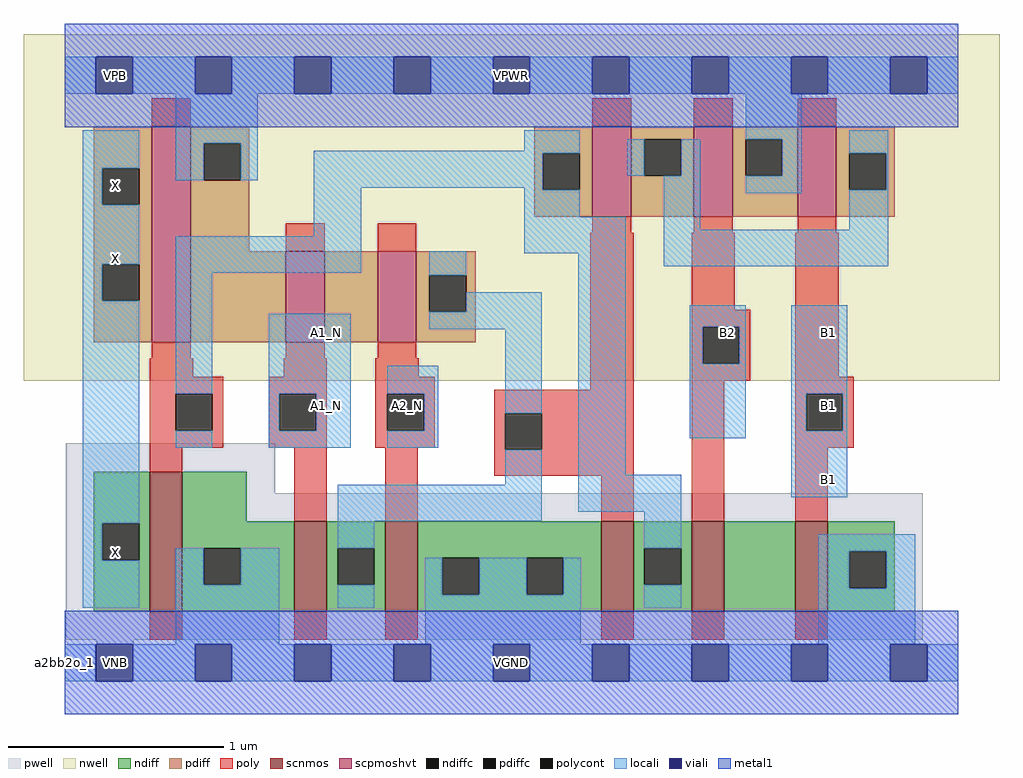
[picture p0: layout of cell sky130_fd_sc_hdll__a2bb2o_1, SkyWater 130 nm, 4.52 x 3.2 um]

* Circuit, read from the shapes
.subckt sky130_fd_sc_hdll__a2bb2o_1 A1_N A2_N B1 B2 VGND VNB VPB VPWR X
XM1 VGND n1 X VNB sky130_fd_pr__nfet_01v8 w=0.65 l=0.15
XM2 n2 A1_N VGND VNB sky130_fd_pr__nfet_01v8 w=0.42 l=0.15
XM3 VGND A2_N n2 VNB sky130_fd_pr__nfet_01v8 w=0.42 l=0.15
XM4 n1 n2 VGND VNB sky130_fd_pr__nfet_01v8 w=0.42 l=0.15
XM5 n3 B2 n1 VNB sky130_fd_pr__nfet_01v8 w=0.42 l=0.15
XM6 VGND B1 n3 VNB sky130_fd_pr__nfet_01v8 w=0.42 l=0.15
XM7 VPWR n1 X VPB sky130_fd_pr__pfet_01v8_hvt w=1 l=0.18
XM8 n4 A1_N VPWR VPB sky130_fd_pr__pfet_01v8_hvt w=0.42 l=0.18
XM9 n2 A2_N n4 VPB sky130_fd_pr__pfet_01v8_hvt w=0.42 l=0.18
XM10 n5 n2 n1 VPB sky130_fd_pr__pfet_01v8_hvt w=0.42 l=0.18
XM11 VPWR B2 n5 VPB sky130_fd_pr__pfet_01v8_hvt w=0.42 l=0.18
XM12 n5 B1 VPWR VPB sky130_fd_pr__pfet_01v8_hvt w=0.42 l=0.18
.ends

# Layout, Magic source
magic
tech sky130A
magscale 1 2
<< nwell >>
rect -38 261 866 582
<< pwell >>
rect 1 157 195 203
rect 1 21 795 157
rect 30 -17 64 21
<< scnmos >>
rect 79 47 109 177
rect 213 47 243 131
rect 297 47 327 131
rect 497 47 527 131
rect 581 47 611 131
rect 677 47 707 131
<< scpmoshvt >>
rect 81 297 117 497
rect 489 413 525 497
rect 583 413 619 497
rect 679 413 715 497
rect 205 297 241 381
rect 290 297 326 381
<< ndiff >>
rect 27 129 79 177
rect 27 95 35 129
rect 69 95 79 129
rect 27 47 79 95
rect 109 131 169 177
rect 109 106 213 131
rect 109 72 129 106
rect 163 72 213 106
rect 109 47 213 72
rect 243 106 297 131
rect 243 72 253 106
rect 287 72 297 106
rect 243 47 297 72
rect 327 97 497 131
rect 327 63 350 97
rect 384 63 428 97
rect 462 63 497 97
rect 327 47 497 63
rect 527 106 581 131
rect 527 72 537 106
rect 571 72 581 106
rect 527 47 581 72
rect 611 47 677 131
rect 707 103 769 131
rect 707 69 727 103
rect 761 69 769 103
rect 707 47 769 69
<< pdiff >>
rect 27 458 81 497
rect 27 424 35 458
rect 69 424 81 458
rect 27 369 81 424
rect 27 335 35 369
rect 69 335 81 369
rect 27 297 81 335
rect 117 481 171 497
rect 117 447 129 481
rect 163 447 171 481
rect 117 381 171 447
rect 435 472 489 497
rect 435 438 443 472
rect 477 438 489 472
rect 435 413 489 438
rect 525 485 583 497
rect 525 451 537 485
rect 571 451 583 485
rect 525 413 583 451
rect 619 485 679 497
rect 619 451 631 485
rect 665 451 679 485
rect 619 413 679 451
rect 715 472 769 497
rect 715 438 727 472
rect 761 438 769 472
rect 715 413 769 438
rect 117 297 205 381
rect 241 297 290 381
rect 326 359 381 381
rect 326 325 338 359
rect 372 325 381 359
rect 326 297 381 325
<< ndiffc >>
rect 35 95 69 129
rect 129 72 163 106
rect 253 72 287 106
rect 350 63 384 97
rect 428 63 462 97
rect 537 72 571 106
rect 727 69 761 103
<< pdiffc >>
rect 35 424 69 458
rect 35 335 69 369
rect 129 447 163 481
rect 443 438 477 472
rect 537 451 571 485
rect 631 451 665 485
rect 727 438 761 472
rect 338 325 372 359
<< poly >>
rect 81 497 117 523
rect 489 497 525 523
rect 583 497 619 523
rect 679 497 715 523
rect 205 381 241 407
rect 290 381 326 407
rect 489 398 525 413
rect 583 398 619 413
rect 679 398 715 413
rect 81 282 117 297
rect 205 282 241 297
rect 290 282 326 297
rect 79 265 119 282
rect 203 265 243 282
rect 79 249 147 265
rect 79 215 103 249
rect 137 215 147 249
rect 79 199 147 215
rect 189 249 243 265
rect 189 215 199 249
rect 233 215 243 249
rect 189 199 243 215
rect 288 265 328 282
rect 288 249 343 265
rect 487 253 527 398
rect 288 215 299 249
rect 333 215 343 249
rect 288 199 343 215
rect 398 231 527 253
rect 79 177 109 199
rect 213 131 243 199
rect 297 131 327 199
rect 398 197 408 231
rect 442 197 527 231
rect 398 173 527 197
rect 497 131 527 173
rect 581 327 621 398
rect 581 311 635 327
rect 581 277 591 311
rect 625 277 635 311
rect 581 261 635 277
rect 677 265 717 398
rect 581 131 611 261
rect 677 249 731 265
rect 677 215 687 249
rect 721 215 731 249
rect 677 199 731 215
rect 677 131 707 199
rect 79 21 109 47
rect 213 21 243 47
rect 297 21 327 47
rect 497 21 527 47
rect 581 21 611 47
rect 677 21 707 47
<< polycont >>
rect 103 215 137 249
rect 199 215 233 249
rect 299 215 333 249
rect 408 197 442 231
rect 591 277 625 311
rect 687 215 721 249
<< locali >>
rect 0 527 29 561
rect 63 527 121 561
rect 155 527 213 561
rect 247 527 305 561
rect 339 527 397 561
rect 431 527 489 561
rect 523 527 581 561
rect 615 527 673 561
rect 707 527 765 561
rect 799 527 828 561
rect 17 458 69 493
rect 17 424 35 458
rect 103 481 179 527
rect 103 447 129 481
rect 163 447 179 481
rect 426 474 477 493
rect 631 485 683 527
rect 231 472 477 474
rect 17 369 69 424
rect 231 440 443 472
rect 231 395 275 440
rect 17 335 35 369
rect 17 129 69 335
rect 103 361 275 395
rect 426 438 443 440
rect 521 451 537 485
rect 571 451 589 485
rect 426 413 477 438
rect 103 249 137 361
rect 338 359 372 381
rect 426 379 520 413
rect 372 325 442 343
rect 103 199 137 215
rect 189 249 265 323
rect 338 309 442 325
rect 189 215 199 249
rect 233 215 265 249
rect 189 199 265 215
rect 299 249 346 275
rect 333 215 346 249
rect 299 199 346 215
rect 408 231 442 309
rect 408 165 442 197
rect 17 95 35 129
rect 253 131 442 165
rect 476 174 520 379
rect 555 401 589 451
rect 665 451 683 485
rect 631 435 683 451
rect 727 472 763 493
rect 761 438 763 472
rect 727 401 763 438
rect 555 367 763 401
rect 579 311 631 331
rect 579 277 591 311
rect 625 277 631 311
rect 579 208 631 277
rect 673 249 725 331
rect 673 215 687 249
rect 721 215 725 249
rect 476 140 571 174
rect 673 153 725 215
rect 253 106 287 131
rect 17 51 69 95
rect 103 72 129 106
rect 163 72 199 106
rect 103 17 199 72
rect 537 106 571 140
rect 253 51 287 72
rect 334 63 350 97
rect 384 63 428 97
rect 462 63 478 97
rect 334 17 478 63
rect 537 51 571 72
rect 698 103 788 119
rect 698 69 727 103
rect 761 69 788 103
rect 698 17 788 69
rect 0 -17 29 17
rect 63 -17 121 17
rect 155 -17 213 17
rect 247 -17 305 17
rect 339 -17 397 17
rect 431 -17 489 17
rect 523 -17 581 17
rect 615 -17 673 17
rect 707 -17 765 17
rect 799 -17 828 17
<< viali >>
rect 29 527 63 561
rect 121 527 155 561
rect 213 527 247 561
rect 305 527 339 561
rect 397 527 431 561
rect 489 527 523 561
rect 581 527 615 561
rect 673 527 707 561
rect 765 527 799 561
rect 29 -17 63 17
rect 121 -17 155 17
rect 213 -17 247 17
rect 305 -17 339 17
rect 397 -17 431 17
rect 489 -17 523 17
rect 581 -17 615 17
rect 673 -17 707 17
rect 765 -17 799 17
<< metal1 >>
rect 0 561 828 592
rect 0 527 29 561
rect 63 527 121 561
rect 155 527 213 561
rect 247 527 305 561
rect 339 527 397 561
rect 431 527 489 561
rect 523 527 581 561
rect 615 527 673 561
rect 707 527 765 561
rect 799 527 828 561
rect 0 496 828 527
rect 0 17 828 48
rect 0 -17 29 17
rect 63 -17 121 17
rect 155 -17 213 17
rect 247 -17 305 17
rect 339 -17 397 17
rect 431 -17 489 17
rect 523 -17 581 17
rect 615 -17 673 17
rect 707 -17 765 17
rect 799 -17 828 17
rect 0 -48 828 -17
<< labels >>
flabel pwell s 30 -17 64 17 0 FreeSans 200 0 0 0 VNB
port 6 nsew ground bidirectional
flabel nwell s 30 527 64 561 0 FreeSans 200 0 0 0 VPB
port 7 nsew power bidirectional
flabel metal1 s 30 -17 64 17 0 FreeSans 200 0 0 0 VGND
port 5 nsew ground bidirectional
flabel metal1 s 30 527 64 561 0 FreeSans 200 0 0 0 VPWR
port 8 nsew power bidirectional
flabel locali s 30 527 64 561 0 FreeSans 200 0 0 0 VPWR
port 8 nsew power bidirectional
flabel locali s 30 -17 64 17 0 FreeSans 200 0 0 0 VGND
port 5 nsew ground bidirectional
flabel locali s 691 221 725 255 0 FreeSans 200 0 0 0 B1
port 3 nsew signal input
flabel locali s 691 289 725 323 0 FreeSans 200 0 0 0 B1
port 3 nsew signal input
flabel locali s 691 153 725 187 0 FreeSans 200 0 0 0 B1
port 3 nsew signal input
flabel locali s 221 221 265 255 0 FreeSans 200 0 0 0 A1_N
port 1 nsew signal input
flabel locali s 301 221 335 255 0 FreeSans 200 0 0 0 A2_N
port 2 nsew signal input
flabel locali s 30 85 64 119 0 FreeSans 200 0 0 0 X
port 9 nsew signal output
flabel locali s 597 289 631 323 0 FreeSans 200 0 0 0 B2
port 4 nsew signal input
flabel locali s 221 289 265 323 0 FreeSans 200 0 0 0 A1_N
port 1 nsew signal input
flabel locali s 30 425 64 459 0 FreeSans 200 0 0 0 X
port 9 nsew signal output
flabel locali s 30 357 64 391 0 FreeSans 200 0 0 0 X
port 9 nsew signal output
rlabel comment s 0 0 0 0 4 a2bb2o_1
rlabel metal1 s 0 -48 828 48 1 VGND
port 5 nsew ground bidirectional
rlabel metal1 s 0 496 828 592 1 VPWR
port 8 nsew power bidirectional
<< properties >>
string LEFsite unithd
string LEFclass CORE
string FIXED_BBOX 0 0 828 544
string GDS_FILE $PDKPATH/libs.ref/sky130_fd_sc_hdll/gds/sky130_fd_sc_hdll.gds
string LEFsymmetry X Y R90
string GDS_END 1700926
string GDS_START 1693598
string LEFproperties maskLayoutSubType "abstract" prCellType "standard" originalViewName "layout"
<< end >>
